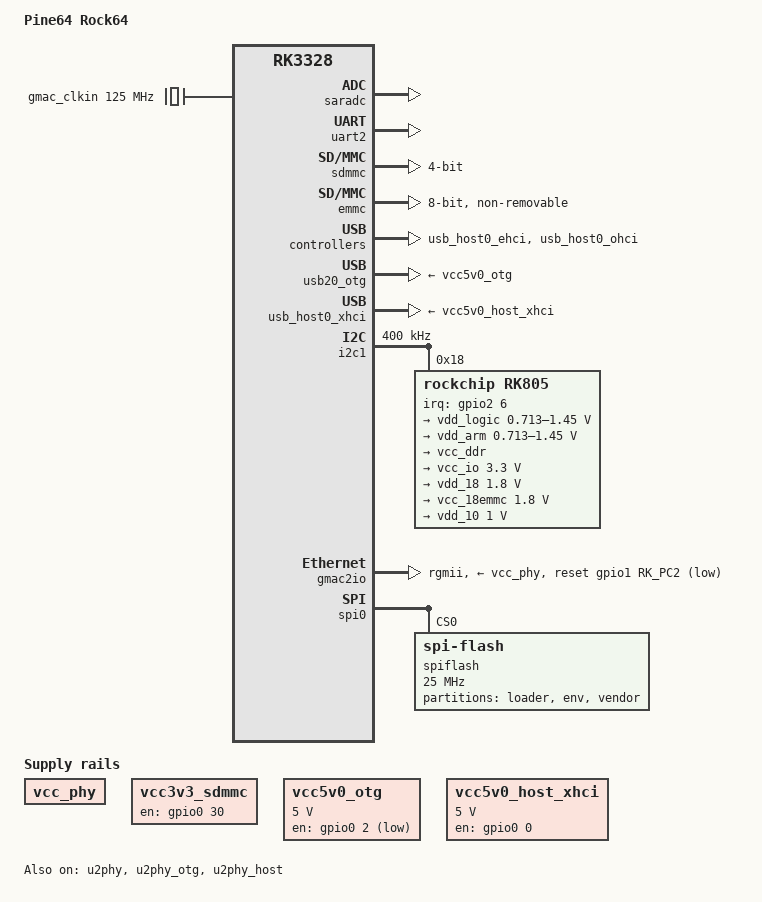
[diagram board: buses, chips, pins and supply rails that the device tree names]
/*
 * (C) Copyright 2017 PINE64
 *
 * SPDX-License-Identifier:     GPL-2.0+
 */

/dts-v1/;
#include "rk3328.dtsi"
#include "rk3328-sdram-lpddr3-1600.dtsi"

/ {
	model = "Pine64 Rock64";
	compatible = "pine64,rock64", "rockchip,rk3328";

	chosen {
		stdout-path = &uart2;
	};

	aliases {
		spi0 = &spi0;
	};

	gmac_clkin: external-gmac-clock {
		compatible = "fixed-clock";
		clock-frequency = <125000000>;
		clock-output-names = "gmac_clkin";
		#clock-cells = <0>;
	};

	vcc_phy: vcc-phy-regulator {
		compatible = "regulator-fixed";
		regulator-name = "vcc_phy";
		regulator-always-on;
		regulator-boot-on;
	};

	vcc3v3_sdmmc: sdmmc-pwren {
		compatible = "regulator-fixed";
		regulator-name = "vcc3v3_sdmmc";
		enable-active-high;
		gpio = <&gpio0 30 GPIO_ACTIVE_LOW>;
		pinctrl-names = "default";
		pinctrl-0 = <&sdmmc0m1_pwren>;
		regulator-always-on;
		regulator-boot-on;
	};

	vcc5v0_otg: vcc5v0-otg-drv {
		compatible = "regulator-fixed";
		regulator-name = "vcc5v0_otg";
		gpio = <&gpio0 2 GPIO_ACTIVE_LOW>;
		regulator-min-microvolt = <5000000>;
		regulator-max-microvolt = <5000000>;
	};

	vcc5v0_host_xhci: vcc5v0-host-xhci-drv {
		compatible = "regulator-fixed";
		enable-active-high;
		regulator-name = "vcc5v0_host_xhci";
		gpio = <&gpio0 0 GPIO_ACTIVE_HIGH>;
		regulator-min-microvolt = <5000000>;
		regulator-max-microvolt = <5000000>;
	};

	adc-keys {
		compatible = "adc-keys";
		io-channels = <&saradc 0>;
	};
};

&saradc {
	status = "okay";
};

&uart2 {
	u-boot,dm-pre-reloc;
	status = "okay";
};

&sdmmc {
	u-boot,dm-spl;
	bus-width = <4>;
	cap-mmc-highspeed;
	cap-sd-highspeed;
	card-detect-delay = <200>;
	disable-wp;
	num-slots = <1>;
	pinctrl-names = "default";
	pinctrl-0 = <&sdmmc0_clk>, <&sdmmc0_cmd>, <&sdmmc0_dectn>, <&sdmmc0_bus4>;
	status = "okay";
};

&emmc {
	u-boot,dm-spl;
	bus-width = <8>;
	cap-mmc-highspeed;
	supports-emmc;
	disable-wp;
	non-removable;
	num-slots = <1>;
	pinctrl-names = "default";
	pinctrl-0 = <&emmc_clk &emmc_cmd &emmc_bus8>;
	status = "okay";
};

&u2phy {
	status = "okay";
};

&u2phy_otg {
	status = "okay";
};

&u2phy_host {
	status = "okay";
};

&usb_host0_ehci {
	status = "okay";
};

&usb_host0_ohci {
	status = "okay";
};

&usb20_otg {
	vbus-supply = <&vcc5v0_otg>;
	status = "okay";
};

&usb_host0_xhci {
	vbus-supply = <&vcc5v0_host_xhci>;
	status = "okay";
	maximum-speed = "high-speed";
};

&i2c1 {
	clock-frequency = <400000>;
	i2c-scl-rising-time-ns = <168>;
	i2c-scl-falling-time-ns = <4>;
	status = "okay";

	rk805: pmic@18 {
		compatible = "rockchip,rk805";
		status = "okay";
		reg = <0x18>;
		interrupt-parent = <&gpio2>;
		interrupts = <6 IRQ_TYPE_LEVEL_LOW>;
		pinctrl-names = "default";
		pinctrl-0 = <&pmic_int_l>;
		rockchip,system-power-controller;
		wakeup-source;
		gpio-controller;
		#gpio-cells = <2>;
		#clock-cells = <1>;
		clock-output-names = "xin32k", "rk805-clkout2";

		pwrkey {
			status = "okay";
		};

		led1 {
			label = "standby";
		};

		led2 {
			label = "power";
		};

		regulators {
			vdd_logic: DCDC_REG1 {
				regulator-name = "vdd_logic";
				regulator-min-microvolt = <712500>;
				regulator-max-microvolt = <1450000>;
				regulator-ramp-delay = <6001>;
				regulator-boot-on;
				regulator-always-on;
				regulator-state-mem {
					regulator-on-in-suspend;
					regulator-suspend-microvolt = <1000000>;
				};
			};

			vdd_arm: DCDC_REG2 {
				regulator-name = "vdd_arm";
				regulator-min-microvolt = <712500>;
				regulator-max-microvolt = <1450000>;
				regulator-ramp-delay = <6001>;
				regulator-boot-on;
				regulator-always-on;
				regulator-state-mem {
					regulator-on-in-suspend;
					regulator-suspend-microvolt = <1000000>;
				};
			};

			vcc_ddr: DCDC_REG3 {
				regulator-name = "vcc_ddr";
				regulator-boot-on;
				regulator-always-on;
				regulator-state-mem {
					regulator-on-in-suspend;
				};
			};

			vcc_io: DCDC_REG4 {
				regulator-name = "vcc_io";
				regulator-min-microvolt = <3300000>;
				regulator-max-microvolt = <3300000>;
				regulator-boot-on;
				regulator-always-on;
				regulator-state-mem {
					regulator-on-in-suspend;
					regulator-suspend-microvolt = <3300000>;
				};
			};

			vdd_18: LDO_REG1 {
				regulator-name = "vdd_18";
				regulator-min-microvolt = <1800000>;
				regulator-max-microvolt = <1800000>;
				regulator-boot-on;
				regulator-always-on;
				regulator-state-mem {
					regulator-on-in-suspend;
					regulator-suspend-microvolt = <1800000>;
				};
			};

			vcc_18emmc: LDO_REG2 {
				regulator-name = "vcc_18emmc";
				regulator-min-microvolt = <1800000>;
				regulator-max-microvolt = <1800000>;
				regulator-boot-on;
				regulator-always-on;
				regulator-state-mem {
					regulator-on-in-suspend;
					regulator-suspend-microvolt = <1800000>;
				};
			};

			vdd_10: LDO_REG3 {
				regulator-name = "vdd_10";
				regulator-min-microvolt = <1000000>;
				regulator-max-microvolt = <1000000>;
				regulator-boot-on;
				regulator-always-on;
				regulator-state-mem {
					regulator-on-in-suspend;
					regulator-suspend-microvolt = <1000000>;
				};
			};
		};
	};
};

&gmac2io {
	phy-supply = <&vcc_phy>;
	phy-mode = "rgmii";
	clock_in_out = "input";
	snps,reset-gpio = <&gpio1 RK_PC2 GPIO_ACTIVE_LOW>;
	snps,reset-active-low;
	snps,reset-delays-us = <0 10000 50000>;
	assigned-clocks = <&cru SCLK_MAC2IO>, <&cru SCLK_MAC2IO_EXT>;
	assigned-clock-parents = <&gmac_clkin>, <&gmac_clkin>;
	pinctrl-names = "default";
	pinctrl-0 = <&rgmiim1_pins>;
	tx_delay = <0x18>;
	rx_delay = <0x18>;
	status = "okay";
};

&spi0 {
	u-boot,dm-spl;
	status = "okay";

	spiflash: spi-flash@0 {
		u-boot,dm-spl;
		#address-cells = <0x1>;
		#size-cells = <1>;
		compatible = "spi-flash";
		reg = <0x0>;
		spi-max-frequency = <25000000>;
		status = "okay";

		partitions {
			compatible = "fixed-partitions";
			#address-cells = <1>;
			#size-cells = <1>;

			loader@8000 {
				label = "loader";
				reg = <0x8000 0x3F0000>;
			};

			env@3f8000 {
				label = "env";
				reg = <0x3F8000 0x8000>;
			};

			vendor@7c0000 {
				label = "vendor";
				reg = <0x7C0000 0x40000>;
			};
		};
	};
};

&pinctrl {
	pmic {
		pmic_int_l: pmic-int-l {
		rockchip,pins =
			<2 RK_PA6 RK_FUNC_GPIO &pcfg_pull_up>;	/* gpio2_a6 */
		};
	};
};

